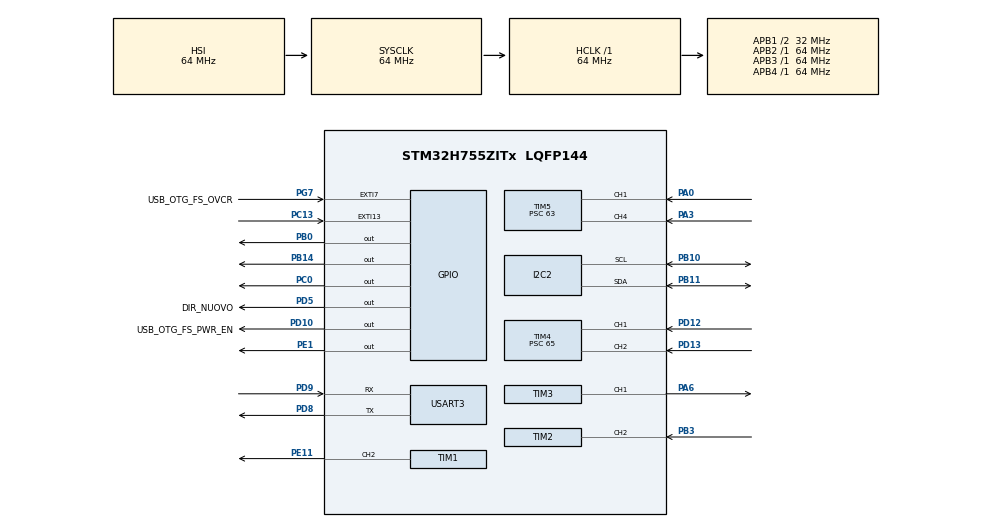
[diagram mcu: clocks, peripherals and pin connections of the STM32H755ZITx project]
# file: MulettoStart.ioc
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CortexM4.IPs=FATFS_M4\:I,FREERTOS_M4\:I,IWDG2\:I,RCC,WWDG2\:I,DMA,BDMA,MDMA,NVIC2\:I,ETH,USART3,DEBUG,PDM2PCM_M4\:I,PWR,RESMGR_UTILITY,SYS_M4\:I,USB_DEVICE_M4\:I,USB_HOST_M4\:I,CORTEX_M4\:I,GPIO,OPENAMP_M4\:I,VREFBUF,NUCLEO-H755ZI-Q
CortexM7.IPs=FATFS_M7\:I,FREERTOS_M7\:I,IWDG1\:I,RCC\:I,WWDG1\:I,DMA\:I,BDMA\:I,MDMA\:I,NVIC1\:I,ETH\:I,USART3\:I,USB_OTG_FS\:I,SYS\:I,CORTEX_M7\:I,DEBUG\:I,PDM2PCM_M7\:I,PWR\:I,RESMGR_UTILITY\:I,USB_DEVICE_M7\:I,USB_HOST_M7\:I,GPIO\:I,OPENAMP_M7\:I,VREFBUF\:I,NUCLEO-H755ZI-Q\:I,MEMORYMAP\:I,TIM6\:I,TIM1\:I,TIM2\:I,TIM3\:I,TIM4\:I,TIM5\:I,SPI5\:I,I2C2\:I
I2C2.Timing=0x00707CBB
Mcu.Family=STM32H7
Mcu.Name=STM32H755ZITx
Mcu.Package=LQFP144
NVIC1.PriorityGroup=NVIC_PRIORITYGROUP_4
NVIC1.TIM2_IRQn=true\:0\:0\:false\:false\:true\:true\:true\:true
NVIC1.TIM5_IRQn=true\:0\:0\:false\:false\:true\:true\:true\:true
NVIC1.TIM6_DAC_IRQn=true\:0\:0\:false\:false\:true\:true\:true\:true
NVIC2.PriorityGroup=NVIC_PRIORITYGROUP_4
PA0.PinAttribute=CortexM7
PA0.Signal=S_TIM5_CH1
PA1.PinAttribute=CortexM7
PA1.Signal=ETH_REF_CLK
PA11.PinAttribute=CortexM7
PA11.Signal=USB_OTG_FS_DM
PA12.PinAttribute=CortexM7
PA12.Signal=USB_OTG_FS_DP
PA2.PinAttribute=CortexM7
PA2.Signal=ETH_MDIO
PA3.PinAttribute=CortexM7
PA3.Signal=S_TIM5_CH4
PA5.PinAttribute=CortexM7
PA5.Signal=S_TIM2_CH1_ETR
PA6.PinAttribute=CortexM7
PA6.Signal=S_TIM3_CH1
PA7.PinAttribute=CortexM7
PA7.Signal=ETH_CRS_DV
PA9.PinAttribute=CortexM7
PA9.Signal=USB_OTG_FS_VBUS
PB0.PinAttribute=Free
PB0.Signal=GPIO_Output
PB10.Mode=I2C
PB10.PinAttribute=CortexM7
PB10.Signal=I2C2_SCL
PB11.Mode=I2C
PB11.PinAttribute=CortexM7
PB11.Signal=I2C2_SDA
PB13.PinAttribute=CortexM7
PB13.Signal=ETH_TXD1
PB14.PinAttribute=Free
PB14.Signal=GPIO_Output
PB3\ (JTDO/TRACESWO).PinAttribute=CortexM7
PB3\ (JTDO/TRACESWO).Signal=S_TIM2_CH2
PC0.PinAttribute=Free
PC0.Signal=GPIO_Output
PC1.PinAttribute=CortexM7
PC1.Signal=ETH_MDC
PC13.PinAttribute=Free
PC13.Signal=GPXTI13
PC14-OSC32_IN\ (OSC32_IN).Mode=LSE-External-Oscillator
PC14-OSC32_IN\ (OSC32_IN).PinAttribute=Free
PC14-OSC32_IN\ (OSC32_IN).Signal=RCC_OSC32_IN
PC15-OSC32_OUT\ (OSC32_OUT).Mode=LSE-External-Oscillator
PC15-OSC32_OUT\ (OSC32_OUT).PinAttribute=Free
PC15-OSC32_OUT\ (OSC32_OUT).Signal=RCC_OSC32_OUT
PC4.PinAttribute=CortexM7
PC4.Signal=ETH_RXD0
PC5.PinAttribute=CortexM7
PC5.Signal=ETH_RXD1
PD10.GPIO_Label=USB_OTG_FS_PWR_EN
PD10.PinAttribute=Free
PD10.Signal=GPIO_Output
PD12.PinAttribute=CortexM7
PD12.Signal=S_TIM4_CH1
PD13.PinAttribute=CortexM7
PD13.Signal=S_TIM4_CH2
PD5.GPIO_Label=DIR_NUOVO
PD5.PinAttribute=Free
PD5.Signal=GPIO_Output
PD8.Mode=Asynchronous
PD8.PinAttribute=CortexM7
PD8.Signal=USART3_TX
PD9.Mode=Asynchronous
PD9.PinAttribute=CortexM7
PD9.Signal=USART3_RX
PE1.PinAttribute=Free
PE1.Signal=GPIO_Output
PE11.PinAttribute=CortexM7
PE11.Signal=S_TIM1_CH2
PG11.PinAttribute=CortexM7
PG11.Signal=ETH_TX_EN
PG13.PinAttribute=CortexM7
PG13.Signal=ETH_TXD0
PG7.GPIO_Label=USB_OTG_FS_OVCR
PG7.PinAttribute=Free
PG7.Signal=GPXTI7
PH0-OSC_IN\ (PH0).Mode=HSE-External-Oscillator
PH0-OSC_IN\ (PH0).PinAttribute=Free
PH0-OSC_IN\ (PH0).Signal=RCC_OSC_IN
PH1-OSC_OUT\ (PH1).Mode=HSE-External-Oscillator
PH1-OSC_OUT\ (PH1).PinAttribute=Free
PH1-OSC_OUT\ (PH1).Signal=RCC_OSC_OUT
ProjectManager.HeapSize=M4-0x200,M7-0x200
ProjectManager.StackSize=M4-0x400,M7-0x400
ProjectManager.TargetToolchain=STM32CubeIDE
RCC.ADCFreq_Value=129000000
RCC.APB1Freq_Value=32000000
RCC.APB2Freq_Value=64000000
RCC.APB3Freq_Value=64000000
RCC.APB4Freq_Value=64000000
RCC.CortexFreq_Value=64000000
RCC.D2PPRE1=RCC_APB1_DIV2
RCC.DIVM1=5
RCC.DIVN1=48
RCC.DIVQ1=5
RCC.HCLKFreq_Value=64000000
RCC.PLL2FRACN=0
RCC.PLL3FRACN=0
RCC.PLLFRACN=0
RCC.SYSCLKFreq_VALUE=64000000
RCC.SupplySource=PWR_DIRECT_SMPS_SUPPLY
RCC.USBFreq_Value=122880000
SH.S_TIM1_CH2.0=TIM1_CH2,PWM Generation2 CH2
SH.S_TIM2_CH1_ETR.0=TIM2_CH1
SH.S_TIM2_CH2.0=TIM2_CH2,Input_Capture2_from_TI2
SH.S_TIM3_CH1.0=TIM3_CH1,PWM Generation1 CH1
SH.S_TIM4_CH1.0=TIM4_CH1,Encoder_Interface
SH.S_TIM4_CH2.0=TIM4_CH2,Encoder_Interface
SH.S_TIM5_CH1.0=TIM5_CH1,Input_Capture1_from_TI1
SH.S_TIM5_CH4.0=TIM5_CH4,Input_Capture4_from_TI4
TIM1.Channel-PWM\ Generation2\ CH2=TIM_CHANNEL_2
TIM1.Period=19999
TIM1.Prescaler=63
TIM2.Channel-Input_Capture2_from_TI2=TIM_CHANNEL_2
TIM2.ICPolarity_CH2=TIM_INPUTCHANNELPOLARITY_BOTHEDGE
TIM3.Channel-PWM\ Generation1\ CH1=TIM_CHANNEL_1
TIM3.Period=1332
TIM3.Prescaler=3
TIM4.EncoderMode=TIM_ENCODERMODE_TI12
TIM4.Prescaler=65
TIM5.Channel-Input_Capture1_from_TI1=TIM_CHANNEL_1
TIM5.Channel-Input_Capture4_from_TI4=TIM_CHANNEL_4
TIM5.ICPolarity_CH1=TIM_INPUTCHANNELPOLARITY_BOTHEDGE
TIM5.ICPolarity_CH4=TIM_INPUTCHANNELPOLARITY_BOTHEDGE
TIM5.Prescaler=63
TIM6.Period=10000-1
TIM6.Prescaler=64-1
USART3.VirtualMode-Asynchronous=VM_ASYNC
VP_MEMORYMAP_VS_MEMORYMAP.Mode=CurAppReg
VP_SYS_M4_VS_Systick.Mode=SysTick
VP_TIM2_VS_OPM.Mode=OPM_bit
VP_TIM6_VS_ClockSourceINT.Mode=Enable_Timer
board=NUCLEO-H755ZI-Q

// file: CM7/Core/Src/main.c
/* USER CODE BEGIN Header */
/**
  ******************************************************************************
  * @file           : main.c
  * @brief          : Main program body
  ******************************************************************************
  * @attention
  *
  * Copyright (c) 2026 STMicroelectronics.
  * All rights reserved.
  *
  * This software is licensed under terms that can be found in the LICENSE file
  * in the root directory of this software component.
  * If no LICENSE file comes with this software, it is provided AS-IS.
  *
  ******************************************************************************
  */
/* USER CODE END Header */
#include "main.h"

/* USER CODE BEGIN Includes */
#include<stdlib.h>
#include<stdbool.h>
#include "DC_motor.h"
#include"bno055_stm32.h"
#include"Configuration.h"
#include"PID.h"
#include"servo_motor.h"
#include<math.h>
/* USER CODE END Includes */

/* USER CODE BEGIN PTD */
typedef struct SerialData {
	int enable;
	int valid;
	float offset;

	float curvature_radius_ref_m; // [m]
	float linear_speed_ref_m_s; //[m/s]
} serialData;

typedef struct VehicleData {
	//Trazione
	int counts;
	int ref_count;
	int delta_count;
	float delta_angle_deg; // [°]
	float motor_speed_deg_sec; // [°/s]
	float motor_speed_RPM; // RPM
	float linear_speed_m_s; //[m/s]
	float motor_speed_ref_RPM; // RPM
	uint8_t motor_direction_ref;

	//Sterzo
	double yaw_rate_rad_sec; // [rad/s]
	double yaw_rate_deg_sec; // [°/s]
	double yaw_rate_ref_rad_sec; //[rad/s]
} vehicleData;
/* USER CODE END PTD */

/* USER CODE BEGIN PD */

/* DUAL_CORE_BOOT_SYNC_SEQUENCE: Define for dual core boot synchronization    */
/*                             demonstration code based on hardware semaphore */
/* This define is present in both CM7/CM4 projects                            */
/* To comment when developping/debugging on a single core                     */
#define DUAL_CORE_BOOT_SYNC_SEQUENCE

#if defined(DUAL_CORE_BOOT_SYNC_SEQUENCE)
#ifndef HSEM_ID_0
#define HSEM_ID_0 (0U) /* HW semaphore 0*/
#endif
#endif /* DUAL_CORE_BOOT_SYNC_SEQUENCE */macro -------------------------------------------------------------*/
/* USER CODE BEGIN PM */

/* USER CODE END PD */

/* USER CODE BEGIN PM */

/* USER CODE END PD */

/* Private macro -------------------------------------------------------------*/
/* USER CODE BEGIN PM */

/* USER CODE END PD */

/* Private macro -------------------------------------------------------------*/
/* USER CODE BEGIN PM */

/* USER CODE END PD */

/* Private macro -------------------------------------------------------------*/
/* USER CODE BEGIN PM */

/* USER CODE END PD */

/* Private macro -------------------------------------------------------------*/
/* USER CODE BEGIN PM */

/* USER CODE END PD */

/* Private macro -------------------------------------------------------------*/
/* USER CODE BEGIN PM */

/* USER CODE END PD */

/* Private macro -------------------------------------------------------------*/
/* USER CODE BEGIN PM */

/* USER CODE END PD */

/* Private macro -------------------------------------------------------------*/
/* USER CODE BEGIN PM */

/* USER CODE END PD */

/* Private macro -------------------------------------------------------------*/
/* USER CODE BEGIN PM */

/* USER CODE END PD */

/* Private macro -------------------------------------------------------------*/
/* USER CODE BEGIN PM */

/* USER CODE END PD */

/* Private macro -------------------------------------------------------------*/
/* USER CODE BEGIN PM */

/* USER CODE END PD */

/* Private macro -------------------------------------------------------------*/
/* USER CODE BEGIN PM */

/* USER CODE END PD */

/* Private macro -------------------------------------------------------------*/
/* USER CODE BEGIN PM */

/* USER CODE END PD */

/* Private macro -------------------------------------------------------------*/
/* USER CODE BEGIN PM */

/* USER CODE END PD */

/* Private macro -------------------------------------------------------------*/
/* USER CODE BEGIN PM */

/* USER CODE END PD */

/* Private
/* USER CODE END PM */

I2C_HandleTypeDef hi2c2;

TIM_HandleTypeDef htim1;
TIM_HandleTypeDef htim2;
TIM_HandleTypeDef htim3;
TIM_HandleTypeDef htim4;
TIM_HandleTypeDef htim5;
TIM_HandleTypeDef htim6;

UART_HandleTypeDef huart3;

/* USER CODE BEGIN PV */
#define MAX_SAMPLES 300          // 300 campioni a 10ms = 3 secondi di registrazione
float log_ref[MAX_SAMPLES];      // Memoria per il radiocomando
float log_real[MAX_SAMPLES];     // Memoria per l'IMU
int log_index = 0;
int recording_state = 0;

//FIR_
#define FIR_ORDER 3 // Finestra di 3 campioni

float fir_buffer[FIR_ORDER] = {0}; // L'array per il buffer del FIR
int fir_index = 0;

//Memoria per la trazione
float fir_buffer_throttle[FIR_ORDER] = {0};
int fir_index_throttle = 0;

// Memoria per il FIR dell'IMU
float fir_buffer_imu[FIR_ORDER] = {0};
int fir_index_imu = 0;

float steering_filtered = 1500.0f;
float throttle_filtered = 1500.0f;

uint32_t IC_Val1_CH1 = 0;
uint32_t IC_Val2_CH1 = 0;
uint32_t Differenza_CH1 = 0;
uint8_t Is_First_Captured_Steering = 0; // 0 = aspetta salita, 1 = aspetta discesa
uint8_t Is_First_Captured_Throttle = 0; // 0 = aspetta salita, 1 = aspetta discesa
uint32_t steering_us = 1500;       // Il tempo del gas in microsecondi (1500 = fermo)
uint32_t throttle_us = 1500;       // Il tempo del gas in microsecondi (1500 = fermo)
serialData data;
vehicleData vehicleState;
volatile uint8_t new_rc_steering = 0;
volatile uint8_t new_rc_throttle = 0;
//PID
PID pid_traction, pid_steering;
double u_trazione = 0;
double u_sterzo = 0;

//Event control
int Flag_10ms = 0;
int HardwareEnable = 1;
int time_counter = 0;

//Serial input var
uint8_t msg[45] = { "\0" };

//Controllo velocità con encoder
#define SPEED_SAMPLES 300          // 3 secondi a 10ms
float log_speed_ref[SPEED_SAMPLES];   // Velocità di riferimento [m/s]
float log_speed_real[SPEED_SAMPLES];  // Velocità reale da encoder [m/s]
int speed_log_index = 0;
int speed_recording_state = 0;        // 0=attesa, 1=registrazione, 2=stampa, 10=finito

//RPM_2_m_s globale per usarla nel logger
float RPM_2_m_s_global = 0.0f;

/* USER CODE END PV */

void SystemClock_Config(void);
static void MX_GPIO_Init(void);
static void MX_TIM1_Init(void);
static void MX_TIM2_Init(void);
static void MX_TIM3_Init(void);
static void MX_TIM5_Init(void);
static void MX_TIM6_Init(void);
static void MX_TIM4_Init(void);
static void MX_USART3_UART_Init(void);
static void MX_I2C2_Init(void);

int main(void)
{

/* USER CODE BEGIN Boot_Mode_Sequence_0 */
#if defined(DUAL_CORE_BOOT_SYNC_SEQUENCE)
  int32_t timeout;
#endif /* DUAL_CORE_BOOT_SYNC_SEQUENCE */
/* USER CODE END Boot_Mode_Sequence_0 */

/* USER CODE BEGIN Boot_Mode_Sequence_1 */
#if defined(DUAL_CORE_BOOT_SYNC_SEQUENCE)
  /* Wait until CPU2 boots and enters in stop mode or timeout*/
timeout = 0xFFFF;
  while((__HAL_RCC_GET_FLAG(RCC_FLAG_D2CKRDY) != RESET) && (timeout-- > 0));
  if ( timeout < 0 )
  {
  Error_Handler();
  }
#endif /* DUAL_CORE_BOOT_SYNC_SEQUENCE */
/* USER CODE END Boot_Mode_Sequence_1 */
  /* MCU Configuration--------------------------------------------------------*/

  /* Reset of all peripherals, Initializes the Flash interface and the Systick. */
  HAL_Init();

  /* Configure the system clock */
  SystemClock_Config();
/* USER CODE BEGIN Boot_Mode_Sequence_2 */
#if defined(DUAL_CORE_BOOT_SYNC_SEQUENCE)
/* When system initialization is finished, Cortex-M7 will release Cortex-M4 by means of
HSEM notification */
/*HW semaphore Clock enable*/
__HAL_RCC_HSEM_CLK_ENABLE();
/*Take HSEM */
HAL_HSEM_FastTake(HSEM_ID_0);
/*Release HSEM in order to notify the CPU2(CM4)*/
HAL_HSEM_Release(HSEM_ID_0,0);
/* wait until CPU2 wakes up from stop mode */
timeout = 0xFFFF;
while((__HAL_RCC_GET_FLAG(RCC_FLAG_D2CKRDY) == RESET) && (timeout-- > 0));
if ( timeout < 0 )
{
Error_Handler();
}
#endif /* DUAL_CORE_BOOT_SYNC_SEQUENCE */
/* USER CODE END Boot_Mode_Sequence_2 */

  /* Initialize all configured peripherals */
  MX_GPIO_Init();
  MX_TIM1_Init();
  MX_TIM2_Init();
  MX_TIM3_Init();
  MX_TIM5_Init();
  MX_TIM6_Init();
  MX_TIM4_Init();
  MX_USART3_UART_Init();
  MX_I2C2_Init();
  HAL_Delay(700);

  /* USER CODE BEGIN 2 */
  //Accensione interruttore generale porta D
   __HAL_RCC_GPIOD_CLK_ENABLE();

   //Configurazione PIN PD5 Bypassando CubeMX
   GPIO_InitTypeDef GPIO_InitStruct = {0};
   GPIO_InitStruct.Pin = GPIO_PIN_5;
   GPIO_InitStruct.Mode = GPIO_MODE_OUTPUT_PP; // Push-Pull
   GPIO_InitStruct.Pull = GPIO_NOPULL;
   GPIO_InitStruct.Speed = GPIO_SPEED_FREQ_LOW;
   HAL_GPIO_Init(GPIOD, &GPIO_InitStruct);

  //PWM Servo
  	HAL_TIM_PWM_Start(&htim1, TIM_CHANNEL_2);
      TIM1->BDTR |= TIM_BDTR_MOE;
      TIM1->CCR2 = 1500;
        HAL_Delay(2000); // Aspetta 2 secondi dritto

  	//PWM DC motor
  	HAL_TIM_PWM_Start(&htim3, TIM_CHANNEL_1);
  	HAL_TIM_PWM_Start(&htim2, TIM_CHANNEL_1);

  	//ENCODER TIMER
  	HAL_TIM_Encoder_Start(&htim4, TIM_CHANNEL_ALL);
  	//10ms TIMER
  	HAL_TIM_Base_Start_IT(&htim6);

  	HAL_TIM_IC_Start_IT(&htim5, TIM_CHANNEL_1);
  	HAL_TIM_IC_Start_IT(&htim5, TIM_CHANNEL_4);

  	//PID traction
  	init_PID(&pid_traction, TRACTION_SAMPLING_TIME, MAX_U_TRACTION,
  	MIN_U_TRACTION);
  	tune_PID(&pid_traction, KP_TRACTION, KI_TRACTION, 0);

  	//PID steering
  	init_PID(&pid_steering, STEERING_SAMPLING_TIME, MAX_U_STEERING,
  	MIN_U_STEERING);
  	tune_PID(&pid_steering, KP_STEERING, KI_STEERING, 0);

  	    // I2C SCANNER (Trova l'indirizzo reale dell'IMU)
  	    printf("\r\n--- AVVIO SCANSIONE I2C2 ---\r\n");
  	    uint8_t dispositivi_trovati = 0;
  	    for(uint8_t i = 1; i < 128; i++) {
  	        if(HAL_I2C_IsDeviceReady(&hi2c2, (uint16_t)(i<<1), 3, 100) == HAL_OK) {
  	            printf("Sensore trovato all'indirizzo: 0x%02X <<<\r\n", i);
  	            dispositivi_trovati++;
  	        }
  	    }
  	    if(dispositivi_trovati == 0) {
  	        printf("Nessun sensore trovato.\r\n");
  	    }
  	    printf("--- FINE SCANSIONE ---\r\n");
  	    HAL_Delay(2000); // Pausa di 2 secondi per darti il tempo di leggere sul Mac

  	// IMU BNO055 config
  	HAL_I2C_IsDeviceReady(&hi2c2, BNO055_I2C_ADDR << 1, 5, 1000);
  	bno055_assignI2C(&hi2c2);
  	bno055_setup();
  	bno055_setOperationModeNDOF();

  	servo_motor(0);

  	printf("Initialization Completed!\r\n");

  	//Test without Raspberry
  	data.enable = 0;
  	data.valid = 1;
  	data.offset = 0.0;
  	data.curvature_radius_ref_m = MAX_CURVATURE_RADIUS_FOR_STRAIGHT; // r=1000000 la macchina va dritta
  	data.linear_speed_ref_m_s = 0.05;

  	float RPM_2_m_s = (2 * M_PI / 60) * WHEEL_RADIUS
  			/ MOTOR_REVOLUTION_FOR_ONE_WHEEL_REVOLUTION;
  	RPM_2_m_s = RPM_2_m_s * 0.787; // correzione aggiunta perchè non andava a 1m/s ma a 0.82m/s

  	RPM_2_m_s_global = RPM_2_m_s;  // Salva per uso globale nel logger

  	data.enable = 1;

  /* USER CODE END 2 */

  /* Infinite loop */
  /* USER CODE BEGIN WHILE */

  	uint32_t MAX_SPEED = 20;

  	float steering_angle = 0.0f;

  	//fir
  	for(int i = 0; i < FIR_ORDER; i++) {
  	  	    fir_buffer[i] = 1500.0f;
  	  	    fir_buffer_throttle[i] = 1500.0f;
  	  	}

  	while (1)
  	{
  		/*IIR FILTRO
  	    //Ricezione radio trazione
  	    if(new_rc_throttle)
  	    {
  	        new_rc_throttle = 0;
  	        throttle_filtered = throttle_filtered * 0.8f + ((float)throttle_us * 0.2f);

  	    }

  	    //Ricezione radio sterzo (calcolo del filtro)
  	    if(new_rc_steering)
  	    {
  	        new_rc_steering = 0;
  	      steering_filtered = steering_filtered * 0.3f + ((float)steering_us * 0.7f);  	        if(steering_filtered < 1000) steering_filtered = 1000;
  	        if(steering_filtered > 2000) steering_filtered = 2000;
  	    }

*/
  		  		//Filtro FIR trazione (Media Mobile)
  		  		if(new_rc_throttle)
  		  		{
  		  		    new_rc_throttle = 0;

  		  		    // Lettura segnale grezzo del gas
  		  		    float throttle_raw = (float)throttle_us;

  		  		    // Salvataggio nell'array dedicato alla trazione
  		  		    fir_buffer_throttle[fir_index_throttle] = throttle_raw;

  		  		    // Fa avanzare l'indice nell'array (ripartendo da 0 quando è pieno)
  		  		    fir_index_throttle = (fir_index_throttle + 1) % FIR_ORDER;

  		  		    //Calcolo media
  		  		    float sum_throttle = 0.0f;
  		  		    for(int i = 0; i < FIR_ORDER; i++) {
  		  		        sum_throttle += fir_buffer_throttle[i];
  		  		    }

  		  		    //Aggiornamento variabili globali
  		  		    throttle_filtered = sum_throttle / (float)FIR_ORDER;

  		  		    //Limiti di sicurezza
  		  		    if(throttle_filtered < 1000.0f) throttle_filtered = 1000.0f;
  		  		    if(throttle_filtered > 2000.0f) throttle_filtered = 2000.0f;
  		  		}

  		  	if(new_rc_steering)
  		  	    {
  		  	        new_rc_steering = 0;

  		  	    // Mappatura diretta del setpoint radiocomando (unfiltered)
  		  	        steering_filtered = (float)steering_us;

  		  	        //Limiti di sicurezza
  		  	        if(steering_filtered < 1000.0f) steering_filtered = 1000.0f;
  		  	        if(steering_filtered > 2000.0f) steering_filtered = 2000.0f;
  		  	    }

  	  //PID (ogni 10ms esatti grazie al Flag)
  	  if (Flag_10ms == 1)
  	  {
  	      Flag_10ms = 0;

  	      //Lettura encoder (feedback trazione)
  	      vehicleState.counts = TIM4->CNT;
  	      TIM4->CNT = TIM4->ARR / 2;
  	      vehicleState.ref_count = TIM4->ARR / 2;
  	      vehicleState.delta_count = vehicleState.counts - vehicleState.ref_count;

  	      vehicleState.delta_angle_deg = (vehicleState.delta_count * 360.0) /
  	                                     ((double) (ENCODER_PPR * ENCODER_COUNTING_MODE * GEARBOX_RATIO));
  	      vehicleState.motor_speed_deg_sec = vehicleState.delta_angle_deg / ENCODER_SAMPLING_TIME;
  	      vehicleState.motor_speed_RPM = DegreeSec2RPM(vehicleState.motor_speed_deg_sec);

  	    // STREAMING REAL-TIME (ogni 10ms)
  	    vehicleState.linear_speed_m_s = vehicleState.motor_speed_RPM * RPM_2_m_s_global;
  	    float speed_ref_test = vehicleState.motor_speed_ref_RPM * RPM_2_m_s_global;
  	    	printf("R,%.4f,%.4f\r\n", speed_ref_test, vehicleState.linear_speed_m_s);
  	      //Mappatura trazione PID
  	      float target_rpm = 0.0f;
  	      uint8_t target_dir = 0;

  	      float MAX_SPEED_M_S = 1.0f;
  	      float MAX_TARGET_RPM = MAX_SPEED_M_S / RPM_2_m_s;

  	      if(throttle_filtered > 1560.0f)
  	      {
  	          target_dir = 1;
  	          target_rpm = ((throttle_filtered - 1560.0f) * MAX_TARGET_RPM) / 433.0f;
  	      }
  	      else if(throttle_filtered < 1440.0f)
  	      {
  	          target_dir = 0;
  	          target_rpm = ((1440.0f - throttle_filtered) * MAX_TARGET_RPM) / 449.0f;
  	      }
  	      else
  	      {
  	          target_rpm = 0.0f;
  	          target_dir = 0;
  	          pid_traction.Iterm = 0;
  	          pid_traction.e_old = 0;
  	      }

  	      vehicleState.motor_speed_ref_RPM = target_rpm;
  	      vehicleState.motor_direction_ref = target_dir;

  	      u_trazione = PID_controller(&pid_traction,
  	                                  fabs(vehicleState.motor_speed_RPM),
  	                                  fabs(vehicleState.motor_speed_ref_RPM));

  	      uint32_t duty_finale = (uint32_t) Voltage2Duty(u_trazione);

  	      if(duty_finale > MAX_SPEED) duty_finale = MAX_SPEED;
  	      if(target_rpm == 0.0f) duty_finale = 0;

  	      set_PWM_and_dir(duty_finale, target_dir);

  	      // Mappatura sterzo PID con IMU (BNO055)

  	      //Lettura velocità di rotazione della macchina dal giroscopio
  	    static int imu_counter = 0;
  	    if (++imu_counter >= 5) {
  	        imu_counter = 0;
  	        bno055_vector_t v = bno055_getVectorGyroscope();

  	        //Lettura grezza
  	        float yaw_rate_grezzo = (v.z * M_PI) / 180.0f;

  	        //Filtro FIR sull'IMU
  	        fir_buffer_imu[fir_index_imu] = yaw_rate_grezzo;
  	        fir_index_imu = (fir_index_imu + 1) % FIR_ORDER;

  	        float sum_imu = 0.0f;
  	        for(int i = 0; i < FIR_ORDER; i++) {
  	            sum_imu += fir_buffer_imu[i];
  	        }

  	        //Dato salvato nella struct è quello pulito dal FIR
  	        vehicleState.yaw_rate_rad_sec = sum_imu / (float)FIR_ORDER;
  	    }

  	      //Calcolo azione utente con radiocomando
  	      float yaw_rate_ref = -((steering_filtered - 1500.0f) * 1.0f) / 500.0f;

  	      float ref_abs = fabs(yaw_rate_ref);
  	      float feedback_abs = fabs(vehicleState.yaw_rate_rad_sec);

  	      //Il PID calcola lo sforzo confrontando realtà (IMU) e obiettivo (Radiocomando)
  	      u_sterzo = PID_controller(&pid_steering, feedback_abs, ref_abs);

  	      if (yaw_rate_ref < 0) {
  	          u_sterzo = -u_sterzo;
  	      }

  	      //Reset zona morta per quando si lascia la levetta
  	      if (steering_filtered > 1460.0f && steering_filtered < 1560.0f) {
  	          pid_steering.Iterm = 0;
  	          pid_steering.e_old = 0;
  	          u_sterzo = 0.0f;
  	      }

  	      //Invio gradi calcolati al servomotore
  	        servo_motor((float)u_sterzo);

  	        //Registrazione successiva alla sterzata
  	        if (recording_state == 0 && fabs(yaw_rate_ref) > 0.3f) {
  	            recording_state = 1;
  	        }

  	        //Registrazione in memoria
  	        if (recording_state == 1) {
  	            if (log_index < MAX_SAMPLES) {
  	                log_ref[log_index] = yaw_rate_ref;
  	                log_real[log_index] = vehicleState.yaw_rate_rad_sec;
  	                log_index++;
  	            } else {
  	                recording_state = 2; //Memoria piena, passa alla stampa
  	            }
  	        }
  	  }
  	//Stampa dati velocità su UART
  	if (speed_recording_state == 2) {
  	    set_PWM_and_dir(0, 0);
  	    servo_motor(0);

  	    printf("\r\n--- INIZIO DATI VELOCITA' [m/s] ---\r\n");
  	    printf("ref_m_s,real_m_s\r\n");
  	    for (int i = 0; i < SPEED_SAMPLES; i++) {
  	        printf("%.4f,%.4f\r\n", log_speed_ref[i], log_speed_real[i]);
  	        HAL_Delay(5);
  	    }
  	    printf("--- FINE DATI VELOCITA' ---\r\n");

  	    speed_recording_state = 10;  // Fine. Reset
  	}
  	//Registrazione terminata, ferma l'auto e stampa
  	    if (recording_state == 2) {
  	        set_PWM_and_dir(0, 0);
  	        servo_motor(0);

  	        printf("\r\n--- INIZIO DATI TELEMETRIA ---\r\n");
  	        for (int i = 0; i < MAX_SAMPLES; i++) {
  	            printf("%.3f,%.3f\r\n", log_ref[i], log_real[i]);
  	            HAL_Delay(5); //Evita di sovraccaricare il terminale seriale in ricezione
  	        }
  	        printf("--- FINE DATI ---\r\n");

  	        recording_state = 10; // Finito. Per rifare il test, premi il tasto Reset nero sulla scheda
  	    }
  	}
    /* USER CODE END WHILE */

}

void SystemClock_Config(void)
{
  RCC_OscInitTypeDef RCC_OscInitStruct = {0};
  RCC_ClkInitTypeDef RCC_ClkInitStruct = {0};

  /** Supply configuration update enable
  */
  HAL_PWREx_ConfigSupply(PWR_DIRECT_SMPS_SUPPLY);

  /** Configure the main internal regulator output voltage
  */
  __HAL_PWR_VOLTAGESCALING_CONFIG(PWR_REGULATOR_VOLTAGE_SCALE3);

  while(!__HAL_PWR_GET_FLAG(PWR_FLAG_VOSRDY)) {}

  /** Initializes the RCC Oscillators according to the specified parameters
  * in the RCC_OscInitTypeDef structure.
  */
  RCC_OscInitStruct.OscillatorType = RCC_OSCILLATORTYPE_HSI;
  RCC_OscInitStruct.HSIState = RCC_HSI_DIV1;
  RCC_OscInitStruct.HSICalibrationValue = RCC_HSICALIBRATION_DEFAULT;
  RCC_OscInitStruct.PLL.PLLState = RCC_PLL_NONE;
  if (HAL_RCC_OscConfig(&RCC_OscInitStruct) != HAL_OK)
  {
    Error_Handler();
  }

  /** Initializes the CPU, AHB and APB buses clocks
  */
  RCC_ClkInitStruct.ClockType = RCC_CLOCKTYPE_HCLK|RCC_CLOCKTYPE_SYSCLK
                              |RCC_CLOCKTYPE_PCLK1|RCC_CLOCKTYPE_PCLK2
                              |RCC_CLOCKTYPE_D3PCLK1|RCC_CLOCKTYPE_D1PCLK1;
  RCC_ClkInitStruct.SYSCLKSource = RCC_SYSCLKSOURCE_HSI;
  RCC_ClkInitStruct.SYSCLKDivider = RCC_SYSCLK_DIV1;
  RCC_ClkInitStruct.AHBCLKDivider = RCC_HCLK_DIV1;
  RCC_ClkInitStruct.APB3CLKDivider = RCC_APB3_DIV1;
  RCC_ClkInitStruct.APB1CLKDivider = RCC_APB1_DIV2;
  RCC_ClkInitStruct.APB2CLKDivider = RCC_APB2_DIV1;
  RCC_ClkInitStruct.APB4CLKDivider = RCC_APB4_DIV1;

  if (HAL_RCC_ClockConfig(&RCC_ClkInitStruct, FLASH_LATENCY_1) != HAL_OK)
  {
    Error_Handler();
  }
}

static void MX_I2C2_Init(void)
{

  hi2c2.Instance = I2C2;
  hi2c2.Init.Timing = 0x00707CBB;
  hi2c2.Init.OwnAddress1 = 0;
  hi2c2.Init.AddressingMode = I2C_ADDRESSINGMODE_7BIT;
  hi2c2.Init.DualAddressMode = I2C_DUALADDRESS_DISABLE;
  hi2c2.Init.OwnAddress2 = 0;
  hi2c2.Init.OwnAddress2Masks = I2C_OA2_NOMASK;
  hi2c2.Init.GeneralCallMode = I2C_GENERALCALL_DISABLE;
  hi2c2.Init.NoStretchMode = I2C_NOSTRETCH_DISABLE;
  if (HAL_I2C_Init(&hi2c2) != HAL_OK)
  {
    Error_Handler();
  }

  /** Configure Analogue filter
  */
  if (HAL_I2CEx_ConfigAnalogFilter(&hi2c2, I2C_ANALOGFILTER_ENABLE) != HAL_OK)
  {
    Error_Handler();
  }

  /** Configure Digital filter
  */
  if (HAL_I2CEx_ConfigDigitalFilter(&hi2c2, 0) != HAL_OK)
  {
    Error_Handler();
  }

}

static void MX_TIM1_Init(void)
{

  TIM_MasterConfigTypeDef sMasterConfig = {0};
  TIM_OC_InitTypeDef sConfigOC = {0};
  TIM_BreakDeadTimeConfigTypeDef sBreakDeadTimeConfig = {0};

  htim1.Instance = TIM1;
  htim1.Init.Prescaler = 63;
  htim1.Init.CounterMode = TIM_COUNTERMODE_UP;
  htim1.Init.Period = 19999;
  htim1.Init.ClockDivision = TIM_CLOCKDIVISION_DIV1;
  htim1.Init.RepetitionCounter = 0;
  htim1.Init.AutoReloadPreload = TIM_AUTORELOAD_PRELOAD_DISABLE;
  if (HAL_TIM_PWM_Init(&htim1) != HAL_OK)
  {
    Error_Handler();
  }
  sMasterConfig.MasterOutputTrigger = TIM_TRGO_RESET;
  sMasterConfig.MasterOutputTrigger2 = TIM_TRGO2_RESET;
  sMasterConfig.MasterSlaveMode = TIM_MASTERSLAVEMODE_DISABLE;
  if (HAL_TIMEx_MasterConfigSynchronization(&htim1, &sMasterConfig) != HAL_OK)
  {
    Error_Handler();
  }
  sConfigOC.OCMode = TIM_OCMODE_PWM1;
  sConfigOC.Pulse = 0;
  sConfigOC.OCPolarity = TIM_OCPOLARITY_HIGH;
  sConfigOC.OCNPolarity = TIM_OCNPOLARITY_HIGH;
  sConfigOC.OCFastMode = TIM_OCFAST_DISABLE;
  sConfigOC.OCIdleState = TIM_OCIDLESTATE_RESET;
  sConfigOC.OCNIdleState = TIM_OCNIDLESTATE_RESET;
  if (HAL_TIM_PWM_ConfigChannel(&htim1, &sConfigOC, TIM_CHANNEL_2) != HAL_OK)
  {
    Error_Handler();
  }
  sBreakDeadTimeConfig.OffStateRunMode = TIM_OSSR_DISABLE;
  sBreakDeadTimeConfig.OffStateIDLEMode = TIM_OSSI_DISABLE;
  sBreakDeadTimeConfig.LockLevel = TIM_LOCKLEVEL_OFF;
  sBreakDeadTimeConfig.DeadTime = 0;
  sBreakDeadTimeConfig.BreakState = TIM_BREAK_DISABLE;
  sBreakDeadTimeConfig.BreakPolarity = TIM_BREAKPOLARITY_HIGH;
  sBreakDeadTimeConfig.BreakFilter = 0;
  sBreakDeadTimeConfig.Break2State = TIM_BREAK2_DISABLE;
  sBreakDeadTimeConfig.Break2Polarity = TIM_BREAK2POLARITY_HIGH;
  sBreakDeadTimeConfig.Break2Filter = 0;
  sBreakDeadTimeConfig.AutomaticOutput = TIM_AUTOMATICOUTPUT_DISABLE;
  if (HAL_TIMEx_ConfigBreakDeadTime(&htim1, &sBreakDeadTimeConfig) != HAL_OK)
  {
    Error_Handler();
  }
  HAL_TIM_MspPostInit(&htim1);

}

static void MX_TIM2_Init(void)
{

  TIM_MasterConfigTypeDef sMasterConfig = {0};
  TIM_IC_InitTypeDef sConfigIC = {0};

  htim2.Instance = TIM2;
  htim2.Init.Prescaler = 0;
  htim2.Init.CounterMode = TIM_COUNTERMODE_UP;
  htim2.Init.Period = 4294967295;
  htim2.Init.ClockDivision = TIM_CLOCKDIVISION_DIV1;
  htim2.Init.AutoReloadPreload = TIM_AUTORELOAD_PRELOAD_DISABLE;
  if (HAL_TIM_IC_Init(&htim2) != HAL_OK)
  {
    Error_Handler();
  }
  if (HAL_TIM_OnePulse_Init(&htim2, TIM_OPMODE_SINGLE) != HAL_OK)
  {
    Error_Handler();
  }
  sMasterConfig.MasterOutputTrigger = TIM_TRGO_RESET;
  sMasterConfig.MasterSlaveMode = TIM_MASTERSLAVEMODE_DISABLE;
  if (HAL_TIMEx_MasterConfigSynchronization(&htim2, &sMasterConfig) != HAL_OK)
  {
    Error_Handler();
  }
  sConfigIC.ICPolarity = TIM_INPUTCHANNELPOLARITY_BOTHEDGE;
  sConfigIC.ICSelection = TIM_ICSELECTION_DIRECTTI;
  sConfigIC.ICPrescaler = TIM_ICPSC_DIV1;
  sConfigIC.ICFilter = 0;
  if (HAL_TIM_IC_ConfigChannel(&htim2, &sConfigIC, TIM_CHANNEL_2) != HAL_OK)
  {
    Error_Handler();
  }

}

static void MX_TIM3_Init(void)
{

  TIM_MasterConfigTypeDef sMasterConfig = {0};
  TIM_OC_InitTypeDef sConfigOC = {0};

  htim3.Instance = TIM3;
  htim3.Init.Prescaler = 3;
  htim3.Init.CounterMode = TIM_COUNTERMODE_UP;
  htim3.Init.Period = 1332;
  htim3.Init.ClockDivision = TIM_CLOCKDIVISION_DIV1;
  htim3.Init.AutoReloadPreload = TIM_AUTORELOAD_PRELOAD_DISABLE;
  if (HAL_TIM_PWM_Init(&htim3) != HAL_OK)
  {
    Error_Handler();
  }
  sMasterConfig.MasterOutputTrigger = TIM_TRGO_RESET;
  sMasterConfig.MasterSlaveMode = TIM_MASTERSLAVEMODE_DISABLE;
  if (HAL_TIMEx_MasterConfigSynchronization(&htim3, &sMasterConfig) != HAL_OK)
  {
    Error_Handler();
  }
  sConfigOC.OCMode = TIM_OCMODE_PWM1;
  sConfigOC.Pulse = 0;
  sConfigOC.OCPolarity = TIM_OCPOLARITY_HIGH;
  sConfigOC.OCFastMode = TIM_OCFAST_DISABLE;
  if (HAL_TIM_PWM_ConfigChannel(&htim3, &sConfigOC, TIM_CHANNEL_1) != HAL_OK)
  {
    Error_Handler();
  }
  HAL_TIM_MspPostInit(&htim3);

}

static void MX_TIM4_Init(void)
{

  TIM_Encoder_InitTypeDef sConfig = {0};
  TIM_MasterConfigTypeDef sMasterConfig = {0};

  htim4.Instance = TIM4;
  htim4.Init.Prescaler = 0;
  htim4.Init.CounterMode = TIM_COUNTERMODE_UP;
  htim4.Init.Period = 65535;
  htim4.Init.ClockDivision = TIM_CLOCKDIVISION_DIV1;
  htim4.Init.AutoReloadPreload = TIM_AUTORELOAD_PRELOAD_DISABLE;
  sConfig.EncoderMode = TIM_ENCODERMODE_TI12;
  sConfig.IC1Polarity = TIM_ICPOLARITY_RISING;
  sConfig.IC1Selection = TIM_ICSELECTION_DIRECTTI;
  sConfig.IC1Prescaler = TIM_ICPSC_DIV1;
  sConfig.IC1Filter = 0;
  sConfig.IC2Polarity = TIM_ICPOLARITY_RISING;
  sConfig.IC2Selection = TIM_ICSELECTION_DIRECTTI;
  sConfig.IC2Prescaler = TIM_ICPSC_DIV1;
  sConfig.IC2Filter = 0;
  if (HAL_TIM_Encoder_Init(&htim4, &sConfig) != HAL_OK)
  {
    Error_Handler();
  }
  sMasterConfig.MasterOutputTrigger = TIM_TRGO_RESET;
  sMasterConfig.MasterSlaveMode = TIM_MASTERSLAVEMODE_DISABLE;
  if (HAL_TIMEx_MasterConfigSynchronization(&htim4, &sMasterConfig) != HAL_OK)
  {
    Error_Handler();
  }

}

static void MX_TIM5_Init(void)
{

  TIM_MasterConfigTypeDef sMasterConfig = {0};
  TIM_IC_InitTypeDef sConfigIC = {0};

  htim5.Instance = TIM5;
  htim5.Init.Prescaler = 63;
  htim5.Init.CounterMode = TIM_COUNTERMODE_UP;
  htim5.Init.Period = 4294967295;
  htim5.Init.ClockDivision = TIM_CLOCKDIVISION_DIV1;
  htim5.Init.AutoReloadPreload = TIM_AUTORELOAD_PRELOAD_DISABLE;
  if (HAL_TIM_IC_Init(&htim5) != HAL_OK)
  {
    Error_Handler();
  }
  sMasterConfig.MasterOutputTrigger = TIM_TRGO_RESET;
  sMasterConfig.MasterSlaveMode = TIM_MASTERSLAVEMODE_DISABLE;
  if (HAL_TIMEx_MasterConfigSynchronization(&htim5, &sMasterConfig) != HAL_OK)
  {
    Error_Handler();
  }
  sConfigIC.ICPolarity = TIM_INPUTCHANNELPOLARITY_BOTHEDGE;
  sConfigIC.ICSelection = TIM_ICSELECTION_DIRECTTI;
  sConfigIC.ICPrescaler = TIM_ICPSC_DIV1;
  sConfigIC.ICFilter = 0;
  if (HAL_TIM_IC_ConfigChannel(&htim5, &sConfigIC, TIM_CHANNEL_1) != HAL_OK)
  {
    Error_Handler();
  }
  if (HAL_TIM_IC_ConfigChannel(&htim5, &sConfigIC, TIM_CHANNEL_4) != HAL_OK)
  {
    Error_Handler();
  }

}

static void MX_TIM6_Init(void)
{

  TIM_MasterConfigTypeDef sMasterConfig = {0};

  htim6.Instance = TIM6;
  htim6.Init.Prescaler = 64-1;
  htim6.Init.CounterMode = TIM_COUNTERMODE_UP;
  htim6.Init.Period = 10000-1;
  htim6.Init.AutoReloadPreload = TIM_AUTORELOAD_PRELOAD_DISABLE;
  if (HAL_TIM_Base_Init(&htim6) != HAL_OK)
  {
    Error_Handler();
  }
  sMasterConfig.MasterOutputTrigger = TIM_TRGO_RESET;
  sMasterConfig.MasterSlaveMode = TIM_MASTERSLAVEMODE_DISABLE;
  if (HAL_TIMEx_MasterConfigSynchronization(&htim6, &sMasterConfig) != HAL_OK)
  {
    Error_Handler();
  }

}

static void MX_USART3_UART_Init(void)
{

  huart3.Instance = USART3;
  huart3.Init.BaudRate = 115200;
  huart3.Init.WordLength = UART_WORDLENGTH_8B;
  huart3.Init.StopBits = UART_STOPBITS_1;
  huart3.Init.Parity = UART_PARITY_NONE;
  huart3.Init.Mode = UART_MODE_TX_RX;
  huart3.Init.HwFlowCtl = UART_HWCONTROL_NONE;
  huart3.Init.OverSampling = UART_OVERSAMPLING_16;
  huart3.Init.OneBitSampling = UART_ONE_BIT_SAMPLE_DISABLE;
  huart3.Init.ClockPrescaler = UART_PRESCALER_DIV1;
  huart3.AdvancedInit.AdvFeatureInit = UART_ADVFEATURE_NO_INIT;
  if (HAL_UART_Init(&huart3) != HAL_OK)
  {
    Error_Handler();
  }
  if (HAL_UARTEx_SetTxFifoThreshold(&huart3, UART_TXFIFO_THRESHOLD_1_8) != HAL_OK)
  {
    Error_Handler();
  }
  if (HAL_UARTEx_SetRxFifoThreshold(&huart3, UART_RXFIFO_THRESHOLD_1_8) != HAL_OK)
  {
    Error_Handler();
  }
  if (HAL_UARTEx_DisableFifoMode(&huart3) != HAL_OK)
  {
    Error_Handler();
  }

}

static void MX_GPIO_Init(void)
{
  GPIO_InitTypeDef GPIO_InitStruct = {0};

  /* GPIO Ports Clock Enable */
  __HAL_RCC_GPIOC_CLK_ENABLE();
  __HAL_RCC_GPIOA_CLK_ENABLE();
  __HAL_RCC_GPIOE_CLK_ENABLE();
  __HAL_RCC_GPIOB_CLK_ENABLE();
  __HAL_RCC_GPIOD_CLK_ENABLE();
  __HAL_RCC_GPIOG_CLK_ENABLE();

  /*Configure GPIO pins : PC1 PC4 PC5 */
  GPIO_InitStruct.Pin = GPIO_PIN_1|GPIO_PIN_4|GPIO_PIN_5;
  GPIO_InitStruct.Mode = GPIO_MODE_AF_PP;
  GPIO_InitStruct.Pull = GPIO_NOPULL;
  GPIO_InitStruct.Speed = GPIO_SPEED_FREQ_LOW;
  GPIO_InitStruct.Alternate = GPIO_AF11_ETH;
  HAL_GPIO_Init(GPIOC, &GPIO_InitStruct);

  /*Configure GPIO pins : PA1 PA2 PA7 */
  GPIO_InitStruct.Pin = GPIO_PIN_1|GPIO_PIN_2|GPIO_PIN_7;
  GPIO_InitStruct.Mode = GPIO_MODE_AF_PP;
  GPIO_InitStruct.Pull = GPIO_NOPULL;
  GPIO_InitStruct.Speed = GPIO_SPEED_FREQ_LOW;
  GPIO_InitStruct.Alternate = GPIO_AF11_ETH;
  HAL_GPIO_Init(GPIOA, &GPIO_InitStruct);

  /*Configure GPIO pin : PB13 */
  GPIO_InitStruct.Pin = GPIO_PIN_13;
  GPIO_InitStruct.Mode = GPIO_MODE_AF_PP;
  GPIO_InitStruct.Pull = GPIO_NOPULL;
  GPIO_InitStruct.Speed = GPIO_SPEED_FREQ_LOW;
  GPIO_InitStruct.Alternate = GPIO_AF11_ETH;
  HAL_GPIO_Init(GPIOB, &GPIO_InitStruct);

  /*Configure GPIO pins : PA11 PA12 */
  GPIO_InitStruct.Pin = GPIO_PIN_11|GPIO_PIN_12;
  GPIO_InitStruct.Mode = GPIO_MODE_AF_PP;
  GPIO_InitStruct.Pull = GPIO_NOPULL;
  GPIO_InitStruct.Speed = GPIO_SPEED_FREQ_LOW;
  GPIO_InitStruct.Alternate = GPIO_AF10_OTG1_FS;
  HAL_GPIO_Init(GPIOA, &GPIO_InitStruct);

  /*Configure GPIO pins : PG11 PG13 */
  GPIO_InitStruct.Pin = GPIO_PIN_11|GPIO_PIN_13;
  GPIO_InitStruct.Mode = GPIO_MODE_AF_PP;
  GPIO_InitStruct.Pull = GPIO_NOPULL;
  GPIO_InitStruct.Speed = GPIO_SPEED_FREQ_LOW;
  GPIO_InitStruct.Alternate = GPIO_AF11_ETH;
  HAL_GPIO_Init(GPIOG, &GPIO_InitStruct);

}

/* USER CODE BEGIN 4 */
void HAL_TIM_PeriodElapsedCallback(TIM_HandleTypeDef *htim) {
    if (htim == &htim6) {
        Flag_10ms = 1;
        time_counter++;

        if (time_counter == 200) {
            data.curvature_radius_ref_m = 1.3;
            pid_steering.Iterm = 0;
            pid_steering.e_old = 0;
        }
        if (time_counter == 580) {
            data.enable = 0;
        }
    }
}

//USART2 -> ST_Link UART for DEBUG with USB
int _write(int file, char *ptr, int len) {
	HAL_UART_Transmit(&huart3, (uint8_t*)ptr, len, HAL_MAX_DELAY);
		return len;
}

//BLUE user button
void HAL_GPIO_EXTI_Callback(uint16_t GPIO_Pin) {
	if (GPIO_Pin == GPIO_PIN_13) {
		if (HardwareEnable == 0) {
			HardwareEnable = 1;
		} else {
			HardwareEnable = 0;
		}
	}
}

void HAL_TIM_IC_CaptureCallback(TIM_HandleTypeDef *htim)
{
    // STERZO -> PA3 (TIM5 CH4)
    if (htim->Instance == TIM5 && htim->Channel == HAL_TIM_ACTIVE_CHANNEL_4)
    {
        static uint32_t ic_val1_s = 0;
        uint32_t ic_val2_s = 0;
        uint32_t diff_steering = 0;

        if (Is_First_Captured_Steering == 0)
        {
            ic_val1_s = HAL_TIM_ReadCapturedValue(htim, TIM_CHANNEL_4);
            Is_First_Captured_Steering = 1;
            __HAL_TIM_SET_CAPTUREPOLARITY(htim, TIM_CHANNEL_4, TIM_INPUTCHANNELPOLARITY_FALLING);
        }
        else
        {
            ic_val2_s = HAL_TIM_ReadCapturedValue(htim, TIM_CHANNEL_4);

            if (ic_val2_s > ic_val1_s)
                diff_steering = ic_val2_s - ic_val1_s;
            else
                diff_steering = (0xFFFFFFFF - ic_val1_s) + ic_val2_s;

            // Per lo sterzo FIR
            if (diff_steering > 600 && diff_steering < 2400) {
                steering_us = diff_steering;
                new_rc_steering = 1;
            }

            Is_First_Captured_Steering = 0;
            __HAL_TIM_SET_CAPTUREPOLARITY(htim, TIM_CHANNEL_4, TIM_INPUTCHANNELPOLARITY_RISING);
        }
    }

    //Trazione -> PA0 (TIM5 CH1)
    if (htim->Instance == TIM5 && htim->Channel == HAL_TIM_ACTIVE_CHANNEL_1)
    {
        static uint32_t ic_val1_t = 0;
        uint32_t ic_val2_t = 0;
        uint32_t diff_throttle = 0;

        if (Is_First_Captured_Throttle == 0)
        {
            ic_val1_t = HAL_TIM_ReadCapturedValue(htim, TIM_CHANNEL_1);
            Is_First_Captured_Throttle = 1;
            __HAL_TIM_SET_CAPTUREPOLARITY(htim, TIM_CHANNEL_1, TIM_INPUTCHANNELPOLARITY_FALLING);
        }
        else
        {
            ic_val2_t = HAL_TIM_ReadCapturedValue(htim, TIM_CHANNEL_1);

            if (ic_val2_t > ic_val1_t)
                diff_throttle = ic_val2_t - ic_val1_t;
            else
                diff_throttle = (0xFFFFFFFF - ic_val1_t) + ic_val2_t;

            if (diff_throttle > 600 && diff_throttle < 2400) {
                throttle_us = diff_throttle;
                new_rc_throttle = 1;
            }

            Is_First_Captured_Throttle = 0;
            __HAL_TIM_SET_CAPTUREPOLARITY(htim, TIM_CHANNEL_1, TIM_INPUTCHANNELPOLARITY_RISING);
        }
    }
}

/* USER CODE END 4 */

void Error_Handler(void)
{
  __disable_irq();
  while (1)
  {
  }
}
